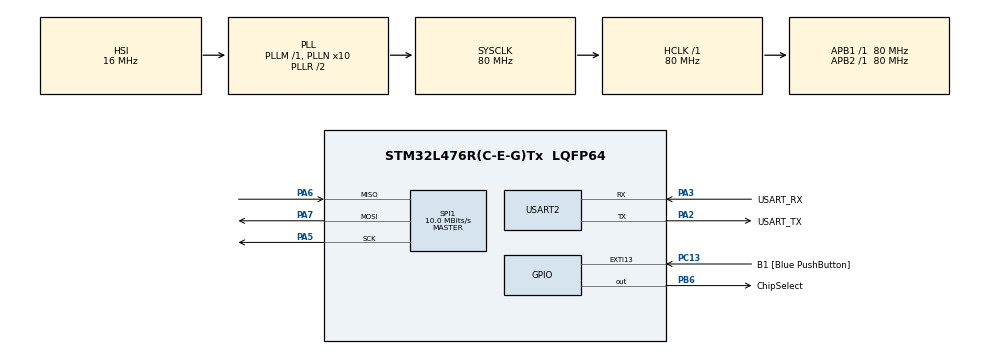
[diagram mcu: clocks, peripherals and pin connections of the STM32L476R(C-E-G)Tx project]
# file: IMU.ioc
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Mcu.Family=STM32L4
Mcu.Name=STM32L476R(C-E-G)Tx
Mcu.Package=LQFP64
NVIC.PriorityGroup=NVIC_PRIORITYGROUP_4
PA13\ (JTMS-SWDIO).GPIO_Label=TMS
PA13\ (JTMS-SWDIO).Signal=SYS_JTMS-SWDIO
PA14\ (JTCK-SWCLK).GPIO_Label=TCK
PA14\ (JTCK-SWCLK).Signal=SYS_JTCK-SWCLK
PA2.GPIO_Label=USART_TX
PA2.GPIO_Mode=GPIO_MODE_AF_PP
PA2.GPIO_PuPd=GPIO_NOPULL
PA2.GPIO_Speed=GPIO_SPEED_FREQ_VERY_HIGH
PA2.Mode=Asynchronous
PA2.Signal=USART2_TX
PA3.GPIO_Label=USART_RX
PA3.GPIO_Mode=GPIO_MODE_AF_PP
PA3.GPIO_PuPd=GPIO_NOPULL
PA3.GPIO_Speed=GPIO_SPEED_FREQ_VERY_HIGH
PA3.Mode=Asynchronous
PA3.Signal=USART2_RX
PA5.Mode=Full_Duplex_Master
PA5.Signal=SPI1_SCK
PA6.Mode=Full_Duplex_Master
PA6.Signal=SPI1_MISO
PA7.Mode=Full_Duplex_Master
PA7.Signal=SPI1_MOSI
PB3\ (JTDO-TRACESWO).GPIO_Label=SWO
PB3\ (JTDO-TRACESWO).Signal=SYS_JTDO-SWO
PB6.GPIO_Label=ChipSelect
PB6.PinState=GPIO_PIN_SET
PB6.Signal=GPIO_Output
PC13.GPIO_Label=B1 [Blue PushButton]
PC13.GPIO_ModeDefaultEXTI=GPIO_MODE_IT_FALLING
PC13.GPIO_PuPd=GPIO_NOPULL
PC13.Signal=GPXTI13
PC14-OSC32_IN\ (PC14).Signal=RCC_OSC32_IN
PC15-OSC32_OUT\ (PC15).Signal=RCC_OSC32_OUT
PH0-OSC_IN\ (PH0).Signal=RCC_OSC_IN
PH1-OSC_OUT\ (PH1).Signal=RCC_OSC_OUT
ProjectManager.HeapSize=0x200
ProjectManager.StackSize=0x400
ProjectManager.TargetToolchain=STM32CubeIDE
RCC.ADCFreq_Value=64000000
RCC.AHBFreq_Value=80000000
RCC.APB1Freq_Value=80000000
RCC.APB1TimFreq_Value=80000000
RCC.APB2Freq_Value=80000000
RCC.APB2TimFreq_Value=80000000
RCC.CortexFreq_Value=80000000
RCC.HCLKFreq_Value=80000000
RCC.HSE_VALUE=8000000
RCC.HSI_VALUE=16000000
RCC.LSE_VALUE=32768
RCC.MSI_VALUE=4000000
RCC.PLLN=10
RCC.PLLSourceVirtual=RCC_PLLSOURCE_HSI
RCC.PREFETCH_ENABLE=1
RCC.SYSCLKFreq_VALUE=80000000
RCC.SYSCLKSource=RCC_SYSCLKSOURCE_PLLCLK
RCC.USBFreq_Value=64000000
RCC.VCOOutputFreq_Value=160000000
SPI1.BaudRatePrescaler=SPI_BAUDRATEPRESCALER_8
SPI1.CLKPhase=SPI_PHASE_2EDGE
SPI1.CLKPolarity=SPI_POLARITY_HIGH
SPI1.CalculateBaudRate=10.0 MBits/s
SPI1.DataSize=SPI_DATASIZE_8BIT
SPI1.Direction=SPI_DIRECTION_2LINES
SPI1.Mode=SPI_MODE_MASTER
SPI1.VirtualType=VM_MASTER
USART2.VirtualMode-Asynchronous=VM_ASYNC
board=NUCLEO-L476RG

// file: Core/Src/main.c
/* USER CODE BEGIN Header */
/**
  ******************************************************************************
  * @file           : main.c
  * @brief          : Main program body
  ******************************************************************************
  * @attention
  *
  * Copyright (c) 2026 STMicroelectronics.
  * All rights reserved.
  *
  * This software is licensed under terms that can be found in the LICENSE file
  * in the root directory of this software component.
  * If no LICENSE file comes with this software, it is provided AS-IS.
  *
  ******************************************************************************
  */
/* USER CODE END Header */
#include "main.h"

/* USER CODE BEGIN Includes */
#include <string.h>
#include <stdio.h>
/* USER CODE END Includes */

SPI_HandleTypeDef hspi1;

UART_HandleTypeDef huart2;

void SystemClock_Config(void);
static void MX_GPIO_Init(void);
static void MX_SPI1_Init(void);
static void MX_USART2_UART_Init(void);

/* USER CODE BEGIN 0 */
int16_t probeX;
/* USER CODE END 0 */

int main(void)
{

  /* USER CODE BEGIN 1 */
	char msg[20]; // Allocate an array of characters to send to Putty using UART.
	uint8_t buf[6]; // Allocate an array of unsigned integers to communicate with SPI
  /* USER CODE END 1 */

  /* MCU Configuration--------------------------------------------------------*/

  /* Reset of all peripherals, Initializes the Flash interface and the Systick. */
  HAL_Init();

  /* Configure the system clock */
  SystemClock_Config();

  /* Initialize all configured peripherals */
  MX_GPIO_Init();
  MX_SPI1_Init();
  MX_USART2_UART_Init();
  /* USER CODE BEGIN 2 */
  do {
	   buf[0] = readMask |ICM20648_REG_WHO_AM_I; // Prepare the instruction " read register 0x00 so you send 0x80
	   HAL_GPIO_WritePin(GPIOB, GPIO_PIN_6, GPIO_PIN_RESET); // Pull the chip select line low
	   HAL_SPI_Transmit(&hspi1, buf, 1, 100); // Tell the ICM20948 what you want
	   HAL_SPI_Receive(&hspi1, buf, 1, 100); // Get the answer
	   HAL_GPIO_WritePin(GPIOB, GPIO_PIN_6, GPIO_PIN_SET); // Release the slave chip by bringing the line back up
	   buf[1] = 0;
	   sprintf(msg, "I am 0x%02X\r\n", buf[0]);
       HAL_UART_Transmit(&huart2, (uint8_t*)msg, strlen(msg), HAL_MAX_DELAY);
   } while (buf[0] != 0xEA);

   buf[0] = writeMask | ICM20648_REG_PWR_MGMT_1; // Here you want to turn on the sensors by going out of sleep mode.
   buf[1] = 0x01; // This is done by writing a 0 on bit 6 of the power management register in the ICM 20948
   HAL_GPIO_WritePin(GPIOB, GPIO_PIN_6, GPIO_PIN_RESET);
   HAL_SPI_Transmit(&hspi1, buf, 2, 100); // Send the regiter address and its content (2 bytes)
   HAL_GPIO_WritePin(GPIOB, GPIO_PIN_6, GPIO_PIN_SET);
  /* USER CODE END 2 */

  /* Infinite loop */
  /* USER CODE BEGIN WHILE */
  while (1)
  {
	  buf[0] = readMask | ICM20648_REG_ACCEL_XOUT_H_SH; // Prepare the request to read the accelerometer data in X direction
	  	    HAL_GPIO_WritePin(GPIOB, GPIO_PIN_6, GPIO_PIN_RESET);
	  	    HAL_SPI_Transmit(&hspi1, buf, 1, 100); // Send request
	  	    HAL_SPI_Receive(&hspi1, buf, 2, 100); // Get the accel X high and low bytes (2 bytes)
	  	    HAL_GPIO_WritePin(GPIOB, GPIO_PIN_6, GPIO_PIN_SET);
	  	    probeX = (buf[0] << 8 | buf[1]); // Combine the two bytes into a signed 16 bit int
	  	    sprintf(msg, "%hd\r\n", probeX);
	  	    HAL_UART_Transmit(&huart2, (uint8_t*)msg, strlen(msg), HAL_MAX_DELAY);
    /* USER CODE END WHILE */

  }
}

void SystemClock_Config(void)
{
  RCC_OscInitTypeDef RCC_OscInitStruct = {0};
  RCC_ClkInitTypeDef RCC_ClkInitStruct = {0};

  /** Configure the main internal regulator output voltage
  */
  if (HAL_PWREx_ControlVoltageScaling(PWR_REGULATOR_VOLTAGE_SCALE1) != HAL_OK)
  {
    Error_Handler();
  }

  /** Initializes the RCC Oscillators according to the specified parameters
  * in the RCC_OscInitTypeDef structure.
  */
  RCC_OscInitStruct.OscillatorType = RCC_OSCILLATORTYPE_HSI;
  RCC_OscInitStruct.HSIState = RCC_HSI_ON;
  RCC_OscInitStruct.HSICalibrationValue = RCC_HSICALIBRATION_DEFAULT;
  RCC_OscInitStruct.PLL.PLLState = RCC_PLL_ON;
  RCC_OscInitStruct.PLL.PLLSource = RCC_PLLSOURCE_HSI;
  RCC_OscInitStruct.PLL.PLLM = 1;
  RCC_OscInitStruct.PLL.PLLN = 10;
  RCC_OscInitStruct.PLL.PLLP = RCC_PLLP_DIV7;
  RCC_OscInitStruct.PLL.PLLQ = RCC_PLLQ_DIV2;
  RCC_OscInitStruct.PLL.PLLR = RCC_PLLR_DIV2;
  if (HAL_RCC_OscConfig(&RCC_OscInitStruct) != HAL_OK)
  {
    Error_Handler();
  }

  /** Initializes the CPU, AHB and APB buses clocks
  */
  RCC_ClkInitStruct.ClockType = RCC_CLOCKTYPE_HCLK|RCC_CLOCKTYPE_SYSCLK
                              |RCC_CLOCKTYPE_PCLK1|RCC_CLOCKTYPE_PCLK2;
  RCC_ClkInitStruct.SYSCLKSource = RCC_SYSCLKSOURCE_PLLCLK;
  RCC_ClkInitStruct.AHBCLKDivider = RCC_SYSCLK_DIV1;
  RCC_ClkInitStruct.APB1CLKDivider = RCC_HCLK_DIV1;
  RCC_ClkInitStruct.APB2CLKDivider = RCC_HCLK_DIV1;

  if (HAL_RCC_ClockConfig(&RCC_ClkInitStruct, FLASH_LATENCY_4) != HAL_OK)
  {
    Error_Handler();
  }
}

static void MX_SPI1_Init(void)
{

  /* SPI1 parameter configuration*/
  hspi1.Instance = SPI1;
  hspi1.Init.Mode = SPI_MODE_MASTER;
  hspi1.Init.Direction = SPI_DIRECTION_2LINES;
  hspi1.Init.DataSize = SPI_DATASIZE_8BIT;
  hspi1.Init.CLKPolarity = SPI_POLARITY_HIGH;
  hspi1.Init.CLKPhase = SPI_PHASE_2EDGE;
  hspi1.Init.NSS = SPI_NSS_SOFT;
  hspi1.Init.BaudRatePrescaler = SPI_BAUDRATEPRESCALER_8;
  hspi1.Init.FirstBit = SPI_FIRSTBIT_MSB;
  hspi1.Init.TIMode = SPI_TIMODE_DISABLE;
  hspi1.Init.CRCCalculation = SPI_CRCCALCULATION_DISABLE;
  hspi1.Init.CRCPolynomial = 7;
  hspi1.Init.CRCLength = SPI_CRC_LENGTH_DATASIZE;
  hspi1.Init.NSSPMode = SPI_NSS_PULSE_DISABLE;
  if (HAL_SPI_Init(&hspi1) != HAL_OK)
  {
    Error_Handler();
  }

}

static void MX_USART2_UART_Init(void)
{

  huart2.Instance = USART2;
  huart2.Init.BaudRate = 115200;
  huart2.Init.WordLength = UART_WORDLENGTH_8B;
  huart2.Init.StopBits = UART_STOPBITS_1;
  huart2.Init.Parity = UART_PARITY_NONE;
  huart2.Init.Mode = UART_MODE_TX_RX;
  huart2.Init.HwFlowCtl = UART_HWCONTROL_NONE;
  huart2.Init.OverSampling = UART_OVERSAMPLING_16;
  huart2.Init.OneBitSampling = UART_ONE_BIT_SAMPLE_DISABLE;
  huart2.AdvancedInit.AdvFeatureInit = UART_ADVFEATURE_NO_INIT;
  if (HAL_UART_Init(&huart2) != HAL_OK)
  {
    Error_Handler();
  }

}

static void MX_GPIO_Init(void)
{
  GPIO_InitTypeDef GPIO_InitStruct = {0};

  /* GPIO Ports Clock Enable */
  __HAL_RCC_GPIOC_CLK_ENABLE();
  __HAL_RCC_GPIOH_CLK_ENABLE();
  __HAL_RCC_GPIOA_CLK_ENABLE();
  __HAL_RCC_GPIOB_CLK_ENABLE();

  /*Configure GPIO pin Output Level */
  HAL_GPIO_WritePin(ChipSelect_GPIO_Port, ChipSelect_Pin, GPIO_PIN_SET);

  /*Configure GPIO pin : B1_Pin */
  GPIO_InitStruct.Pin = B1_Pin;
  GPIO_InitStruct.Mode = GPIO_MODE_IT_FALLING;
  GPIO_InitStruct.Pull = GPIO_NOPULL;
  HAL_GPIO_Init(B1_GPIO_Port, &GPIO_InitStruct);

  /*Configure GPIO pin : ChipSelect_Pin */
  GPIO_InitStruct.Pin = ChipSelect_Pin;
  GPIO_InitStruct.Mode = GPIO_MODE_OUTPUT_PP;
  GPIO_InitStruct.Pull = GPIO_NOPULL;
  GPIO_InitStruct.Speed = GPIO_SPEED_FREQ_LOW;
  HAL_GPIO_Init(ChipSelect_GPIO_Port, &GPIO_InitStruct);

}

void Error_Handler(void)
{
  __disable_irq();
  while (1)
  {
  }
}
